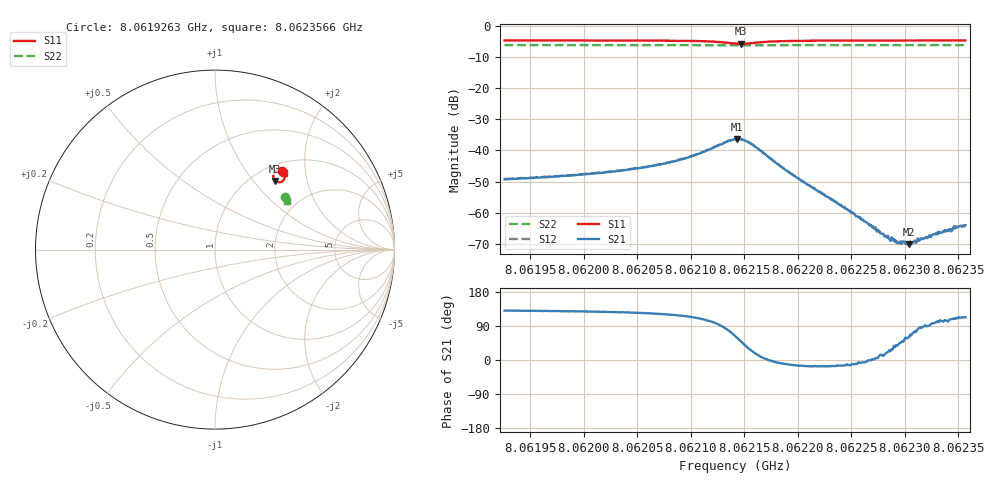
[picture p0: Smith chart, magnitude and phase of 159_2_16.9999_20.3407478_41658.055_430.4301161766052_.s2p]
#  HZ  S  RI  R  50.00
! Rohde & Schwarz Vector Network Analyzer
! Rohde-Schwarz,ZNB20-2Port,1311601062101988,3.16
! Created: UTC 3/20/2024, 10:59:10 PM
! freq[Hz]  re:S11  im:S11  re:S21  im:S21  re:S12  im:S12  re:S22  im:S22
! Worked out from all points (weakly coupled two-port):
!   401 points, 8.0619263 GHz to 8.0623566 GHz, reference 50 ohm
!   highest |S21| = -36.40 dB at 8.0621436 GHz (marker M1); lowest = -70.2 dB at 8.0623039 GHz (marker M2)
!   lowest |S11| = -5.9 dB at 8.0621468 GHz (marker M3), VSWR 3.07, Z = 63.1 + j65.1 ohm
!   |S11| at or under -10 dB: nowhere
!   |S22| runs from -6.3 to -6.3 dB; largest |S21 - S12| = 0.0011
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8.06192628e9  0.3715 0.4398  -0.00221 0.00262  -0.00211 0.00278  0.3874 0.2927
8.06199836e9  0.3776 0.4339  -0.00252 0.00321  -0.00236 0.0034  0.3898 0.2891
8.06203816e9  0.3815 0.4293  -0.00281 0.00389  -0.00259 0.00412  0.3912 0.287
8.06207043e9  0.3853 0.423  -0.0031 0.005  -0.00286 0.00525  0.3923 0.2852
8.06210055e9  0.3889 0.4113  -0.0032 0.00731  -0.00277 0.00759  0.3933 0.2832
8.06214143e9  0.351 0.3755  0.00664 0.0134  0.00766 0.0131  0.3921 0.2803
8.06214358e9  0.3446 0.3774  0.00796 0.0129  0.00873 0.0124  0.3922 0.2805
8.06214681e9  0.3359 0.3826  0.00969 0.0115  0.0105 0.0108  0.3919 0.2808
8.06215756e9  0.3247 0.4108  0.0114 0.00484  0.0118 0.00415  0.3924 0.2814
8.06218768e9  0.3518 0.4391  0.00491 -0.000888  0.00487 -0.00118  0.3948 0.281
8.0622135e9  0.3645 0.4388  0.00243 -0.000721  0.00242 -0.000867  0.3961 0.2795
8.0622447e9  0.3723 0.4361  0.00112 -0.000277  0.0011 -0.000361  0.3974 0.2779
8.06227589e9  0.3772 0.4336  0.000505 8.67e-05  0.000502 3.02e-05  0.3986 0.2762
8.06228557e9  0.3784 0.4329  0.000341 0.000166  0.000389 0.000136  0.3988 0.2757
8.06229418e9  0.3794 0.4321  0.000243 0.000215  0.000235 0.000196  0.3992 0.2751
8.06230386e9  0.3803 0.4316  0.000153 0.00027  0.000172 0.000286  0.3996 0.2748
8.06230816e9  0.3809 0.4312  0.000103 0.000324  8.06e-05 0.0003  0.3996 0.2745
8.06231354e9  0.3813 0.4309  3.14e-05 0.000354  8.22e-05 0.000365  0.3998 0.2743
8.06231892e9  0.3818 0.4305  -1.31e-05 0.000389  2.9e-05 0.000373  0.3999 0.2741
8.06234259e9  0.384 0.429  -0.000159 0.00052  -0.00015 0.000514  0.4007 0.2727
8.06234797e9  0.3844 0.4285  -0.000208 0.000532  -0.00017 0.000583  0.4011 0.2724
8.06235657e9  0.385 0.4279  -0.000244 0.000584  -0.000217 0.000592  0.4012 0.2719
